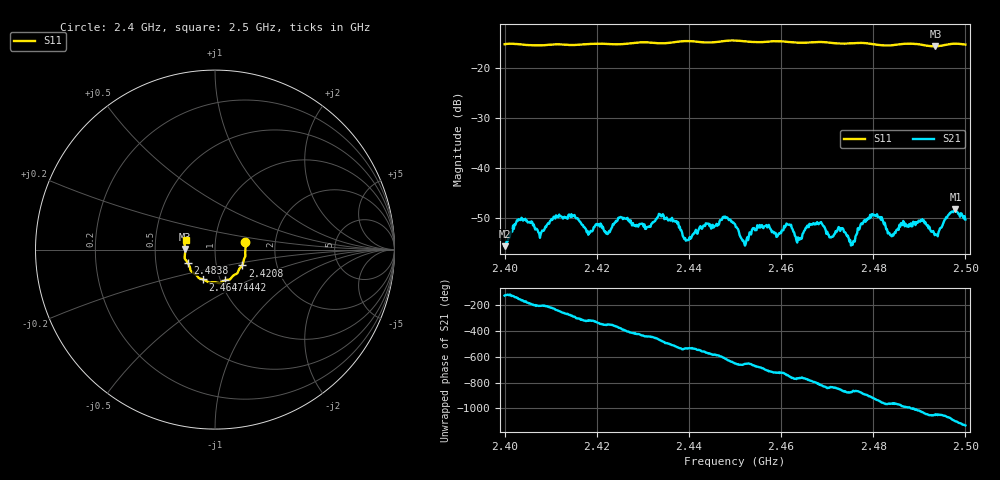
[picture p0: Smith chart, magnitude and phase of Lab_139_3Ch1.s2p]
# Hz S RI R 50
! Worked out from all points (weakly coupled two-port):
!   601 points, 2.4 GHz to 2.5 GHz, reference 50 ohm
!   highest |S21| = -48.37 dB at 2.4978 GHz (marker M1); lowest = -55.7 dB at 2.4 GHz (marker M2)
!   lowest |S11| = -15.6 dB at 2.4935 GHz (marker M3), VSWR 1.40, Z = 35.8 + j0.211 ohm
!   |S11| at or under -10 dB: start of sweep to end of sweep
!   S12 and S22 are empty: the file has one direction only
!   S11 on the Smith chart (normalised r, x): 2.4 GHz: 1.40, +0.12; 2.4208 GHz: 1.33, -0.24; 2.4442 GHz: 1.05, -0.37; 2.4647 GHz: 0.83, -0.28; 2.4838 GHz: 0.73, -0.11; 2.5 GHz: 0.71, +0.08
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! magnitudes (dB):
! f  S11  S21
! 2.4 GHz  -15.2  -55.7
! 2.4033 GHz  -15.2  -50.5
! 2.4078 GHz  -15.5  -53.3
! 2.4117 GHz  -15.2  -49.9
! 2.4167 GHz  -15.3  -51.3
! 2.4208 GHz  -15.1  -51.2
! 2.4333 GHz  -15.0  -49.8
! 2.4395 GHz  -14.6  -54.5
! 2.4442 GHz  -14.9  -51.2
! 2.45 GHz  -14.5  -51.3
! 2.452 GHz  -14.6  -55.1
! 2.4553 GHz  -14.8  -51.5
! 2.4647 GHz  -14.9  -53.3
! 2.4667 GHz  -14.8  -51.3
! 2.4755 GHz  -15.0  -55.5
! 2.4803 GHz  -15.3  -49.5
! 2.4833 GHz  -15.5  -53.0
! 2.4838 GHz  -15.5  -53.6
! 2.4905 GHz  -15.3  -50.6
! 2.4935 GHz  -15.6  -53.4
! 2.4978 GHz  -15.1  -48.4
! 2.5 GHz  -15.3  -50.4
